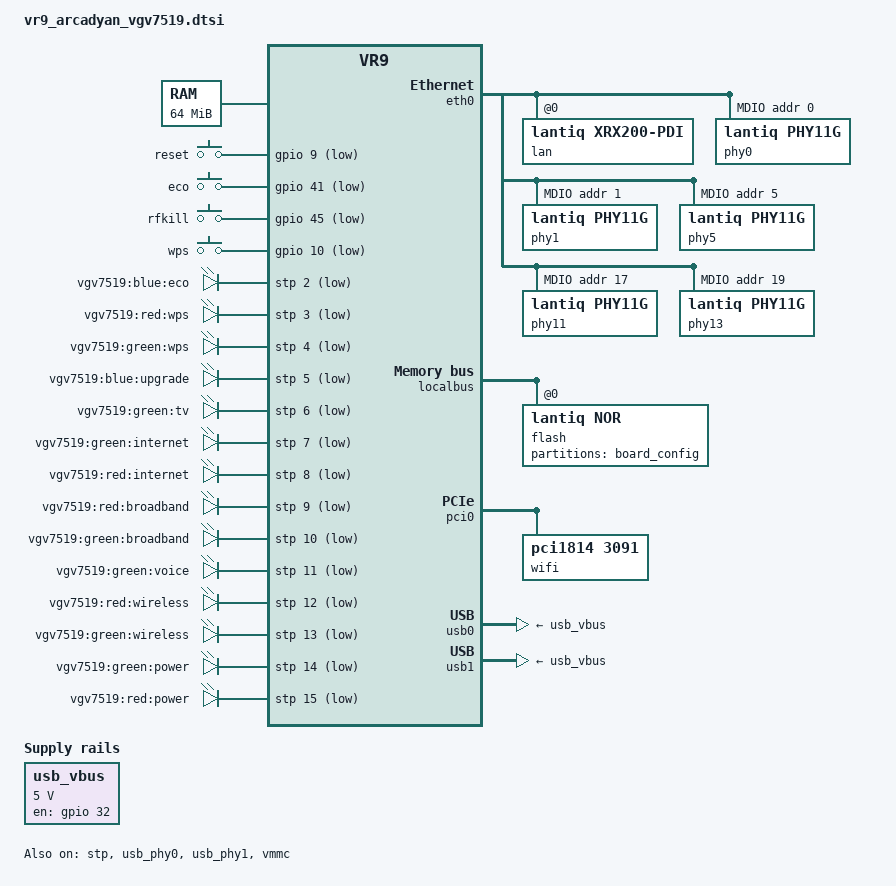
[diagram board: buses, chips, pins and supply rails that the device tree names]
#include "vr9.dtsi"

#include <dt-bindings/input/input.h>
#include <dt-bindings/mips/lantiq_rcu_gphy.h>

/ {
	compatible = "arcadyan,vgv7519", "lantiq,xway", "lantiq,vr9";

	chosen {
		bootargs = "console=ttyLTQ0,115200 mem=62M vpe1_load_addr=0x83e00000 vpe1_mem=2M maxvpes=1 maxtcs=1 nosmp";
	};

	aliases {
		led-boot = &power_green;
		led-failsafe = &power_red;
		led-running = &power_green;
		led-upgrade = &power_green;

		led-dsl = &broadband_green;
		led-internet = &internet_green;
		led-wifi = &wireless_green;
	};

	memory@0 {
		device_type = "memory";
		reg = <0x0 0x4000000>;
	};

	keys {
		compatible = "gpio-keys-polled";
		poll-interval = <100>;
		reset {
			label = "reset";
			gpios = <&gpio 9 GPIO_ACTIVE_LOW>;
			linux,code = <KEY_RESTART>;
		};
		eco {
			label = "eco";
			gpios = <&gpio 41 GPIO_ACTIVE_LOW>;
			linux,code = <BTN_0>;
		};
		rfkill {
			label = "rfkill";
			gpios = <&gpio 45 GPIO_ACTIVE_LOW>;
			linux,code = <KEY_RFKILL>;
		};
		wps {
			label = "wps";
			gpios = <&gpio 10 GPIO_ACTIVE_LOW>;
			linux,code = <KEY_WPS_BUTTON>;
		};
	};

	leds {
		compatible = "gpio-leds";

		eco {
			label = "vgv7519:blue:eco";
			gpios = <&stp 2 GPIO_ACTIVE_LOW>;
		};
		wps_red {
			label = "vgv7519:red:wps";
			gpios = <&stp 3 GPIO_ACTIVE_LOW>;
		};
		wps_green {
			label = "vgv7519:green:wps";
			gpios = <&stp 4 GPIO_ACTIVE_LOW>;
		};
		upgrade {
			label = "vgv7519:blue:upgrade";
			gpios = <&stp 5 GPIO_ACTIVE_LOW>;
		};
		tv {
			label = "vgv7519:green:tv";
			gpios = <&stp 6 GPIO_ACTIVE_LOW>;
		};
		internet_green: internet_green {
			label = "vgv7519:green:internet";
			gpios = <&stp 7 GPIO_ACTIVE_LOW>;
		};
		internet_red {
			label = "vgv7519:red:internet";
			gpios = <&stp 8 GPIO_ACTIVE_LOW>;
		};
		broadband_red {
			label = "vgv7519:red:broadband";
			gpios = <&stp 9 GPIO_ACTIVE_LOW>;
		};
		broadband_green: broadband_green {
			label = "vgv7519:green:broadband";
			gpios = <&stp 10 GPIO_ACTIVE_LOW>;
		};
		voice {
			label = "vgv7519:green:voice";
			gpios = <&stp 11 GPIO_ACTIVE_LOW>;
		};
		wireless_red {
			label = "vgv7519:red:wireless";
			gpios = <&stp 12 GPIO_ACTIVE_LOW>;
		};
		wireless_green: wireless_green {
			label = "vgv7519:green:wireless";
			gpios = <&stp 13 GPIO_ACTIVE_LOW>;
		};
		power_green: power2 {
			label = "vgv7519:green:power";
			gpios = <&stp 14 GPIO_ACTIVE_LOW>;
			default-state = "keep";
		};
		power_red: power {
			label = "vgv7519:red:power";
			gpios = <&stp 15 GPIO_ACTIVE_LOW>;
		};
	};

	usb_vbus: regulator-usb-vbus {
		compatible = "regulator-fixed";

		regulator-name = "USB_VBUS";

		regulator-min-microvolt = <5000000>;
		regulator-max-microvolt = <5000000>;

		gpio = <&gpio 32 GPIO_ACTIVE_HIGH>;
		enable-active-high;
	};
};

&eth0 {
	pinctrl-0 = <&mdio_pins>, <&gphy0_led1_pins>, <&gphy1_led0_pins>;
	pinctrl-names = "default";

	lan: interface@0 {
		compatible = "lantiq,xrx200-pdi";
		#address-cells = <1>;
		#size-cells = <0>;
		reg = <0>;
		mtd-mac-address = <&boardconfig 0x16>;
		mtd-mac-address-increment = <1>;
		lantiq,switch;

		ethernet@0 {
			compatible = "lantiq,xrx200-pdi-port";
			reg = <0>;
			phy-mode = "rgmii";
			phy-handle = <&phy0>;
		};
		ethernet@1 {
			compatible = "lantiq,xrx200-pdi-port";
			reg = <1>;
			phy-mode = "rgmii";
			phy-handle = <&phy1>;
		};
		ethernet@2 {
			compatible = "lantiq,xrx200-pdi-port";
			reg = <2>;
			phy-mode = "gmii";
			phy-handle = <&phy11>;
		};
		ethernet@4 {
			compatible = "lantiq,xrx200-pdi-port";
			reg = <4>;
			phy-mode = "gmii";
			phy-handle = <&phy13>;
		};
		ethernet@5 {
			compatible = "lantiq,xrx200-pdi-port";
			reg = <5>;
			phy-mode = "rgmii";
			phy-handle = <&phy5>;
		};
	};

	mdio {
		#address-cells = <1>;
		#size-cells = <0>;
		compatible = "lantiq,xrx200-mdio";

		phy0: ethernet-phy@0 {
			reg = <0x0>;
			compatible = "lantiq,phy11g", "ethernet-phy-ieee802.3-c22";
		};
		phy1: ethernet-phy@1 {
			reg = <0x1>;
			compatible = "lantiq,phy11g", "ethernet-phy-ieee802.3-c22";
		};
		phy5: ethernet-phy@5 {
			reg = <0x5>;
			compatible = "lantiq,phy11g", "ethernet-phy-ieee802.3-c22";
		};
		phy11: ethernet-phy@11 {
			reg = <0x11>;
			compatible = "lantiq,phy11g", "ethernet-phy-ieee802.3-c22";
		};
		phy13: ethernet-phy@13 {
			reg = <0x13>;
			compatible = "lantiq,phy11g", "ethernet-phy-ieee802.3-c22";
		};
	};
};

&gphy0 {
	lantiq,gphy-mode = <GPHY_MODE_GE>;
};

&gphy1 {
	lantiq,gphy-mode = <GPHY_MODE_GE>;
};

&gpio {
	pinctrl-names = "default";
	pinctrl-0 = <&state_default>;

	state_default: pinmux {
		pci-rst {
			lantiq,pins = "io21";
			lantiq,open-drain = <0>;
			lantiq,pull = <0>;
			lantiq,output = <1>;
		};
	};
};

&localbus {
	flash@0 {
		compatible = "lantiq,nor";
		bank-width = <2>;
		reg = <0 0x0 0x800000>, <1 0x800000 0x800000>;

		partitions {
			compatible = "fixed-partitions";
			#address-cells = <1>;
			#size-cells = <1>;

			boardconfig: partition@40000 {
				label = "board_config";
				reg = <0x40000 0x10000>;
				read-only;
			};
		};
	};
};

&pci0 {
	status = "okay";
	gpio-reset = <&gpio 21 GPIO_ACTIVE_HIGH>;

	wifi@1814,3091 {
		compatible = "pci1814,3091";
		reg = <0x7000 0 0 0 0>;
		ralink,mtd-eeprom = <&boardconfig 0x410>;
		ralink,mtd-eeprom-swap;
		mtd-mac-address = <&boardconfig 0x16>;
		mtd-mac-address-increment = <1>;
	};
};

&pcie0 {
	status = "disabled";
};

&stp {
	status = "okay";
	lantiq,shadow = <0xffff>;
	lantiq,groups = <0x3>;
	lantiq,dsl = <0x0>;
	lantiq,phy1 = <0x0>;
	lantiq,phy2 = <0x0>;
	/* lantiq,rising; */
};

&usb_phy0 {
	status = "okay";
};

&usb_phy1 {
	status = "okay";
};

&usb0 {
	status = "okay";
	vbus-supply = <&usb_vbus>;
};

&usb1 {
	status = "okay";
	vbus-supply = <&usb_vbus>;
};

&vmmc {
	status = "okay";
	gpios = <&gpio 30 GPIO_ACTIVE_HIGH  //fxs relay
		 &gpio 31 GPIO_ACTIVE_HIGH  //still unknown
		 &gpio 3  GPIO_ACTIVE_HIGH>; //reset_slic?
};
